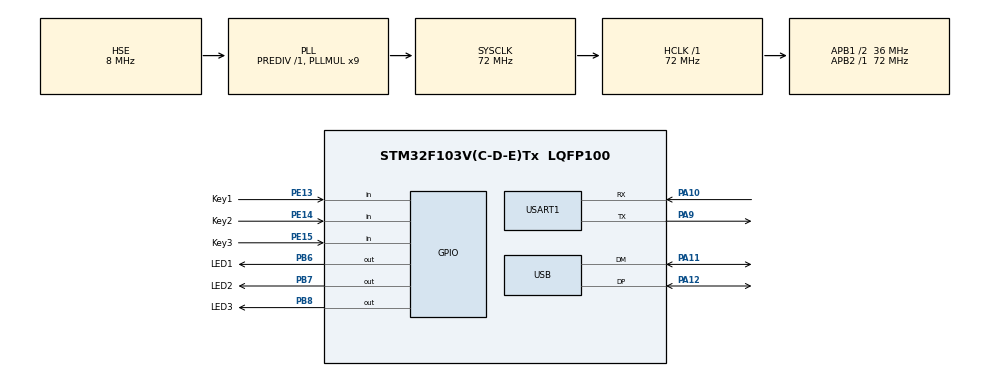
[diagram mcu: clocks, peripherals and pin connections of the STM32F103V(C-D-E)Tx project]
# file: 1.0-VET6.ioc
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FREERTOS.Tasks01=defaultTask,24,128,StartDefaultTask,Default,NULL,Dynamic,NULL,NULL
Mcu.Family=STM32F1
Mcu.Name=STM32F103V(C-D-E)Tx
Mcu.Package=LQFP100
NVIC.PriorityGroup=NVIC_PRIORITYGROUP_4
NVIC.TIM7_IRQn=true\:15\:0\:false\:false\:true\:false\:false\:true\:true
NVIC.TimeBase=TIM7_IRQn
NVIC.TimeBaseIP=TIM7
NVIC.USB_LP_CAN1_RX0_IRQn=true\:5\:0\:false\:false\:true\:true\:false\:true\:true
OSC_IN.Mode=HSE-External-Oscillator
OSC_IN.Signal=RCC_OSC_IN
OSC_OUT.Mode=HSE-External-Oscillator
OSC_OUT.Signal=RCC_OSC_OUT
PA10.Mode=Asynchronous
PA10.Signal=USART1_RX
PA11.Mode=Device
PA11.Signal=USB_DM
PA12.Mode=Device
PA12.Signal=USB_DP
PA13.Mode=Serial_Wire
PA13.Signal=SYS_JTMS-SWDIO
PA14.Mode=Serial_Wire
PA14.Signal=SYS_JTCK-SWCLK
PA9.Mode=Asynchronous
PA9.Signal=USART1_TX
PB6.GPIO_Label=LED1
PB6.GPIO_Speed=GPIO_SPEED_FREQ_HIGH
PB6.Signal=GPIO_Output
PB7.GPIO_Label=LED2
PB7.GPIO_Speed=GPIO_SPEED_FREQ_HIGH
PB7.Signal=GPIO_Output
PB8.GPIO_Label=LED3
PB8.GPIO_Speed=GPIO_SPEED_FREQ_HIGH
PB8.Signal=GPIO_Output
PC14-OSC32_IN.Mode=LSE-External-Oscillator
PC14-OSC32_IN.Signal=RCC_OSC32_IN
PC15-OSC32_OUT.Mode=LSE-External-Oscillator
PC15-OSC32_OUT.Signal=RCC_OSC32_OUT
PE13.GPIO_Label=Key1
PE13.Signal=GPIO_Input
PE14.GPIO_Label=Key2
PE14.Signal=GPIO_Input
PE15.GPIO_Label=Key3
PE15.Signal=GPIO_Input
ProjectManager.HeapSize=0x200
ProjectManager.StackSize=0x400
ProjectManager.TargetToolchain=MDK-ARM V5.32
RCC.AHBFreq_Value=72000000
RCC.APB1CLKDivider=RCC_HCLK_DIV2
RCC.APB1Freq_Value=36000000
RCC.APB1TimFreq_Value=72000000
RCC.APB2Freq_Value=72000000
RCC.APB2TimFreq_Value=72000000
RCC.HCLKFreq_Value=72000000
RCC.PLLMUL=RCC_PLL_MUL9
RCC.PLLSourceVirtual=RCC_PLLSOURCE_HSE
RCC.SYSCLKFreq_VALUE=72000000
RCC.SYSCLKSource=RCC_SYSCLKSOURCE_PLLCLK
RCC.USBFreq_Value=48000000
RCC.USBPrescaler=RCC_USBCLKSOURCE_PLL_DIV1_5
USART1.VirtualMode=VM_ASYNC
USB_DEVICE.CLASS_NAME_FS=HID
USB_DEVICE.VirtualMode=Hid
USB_DEVICE.VirtualModeFS=Hid_FS
VP_FREERTOS_VS_CMSIS_V2.Mode=CMSIS_V2
VP_SYS_VS_tim7.Mode=TIM7
VP_USB_DEVICE_VS_USB_DEVICE_HID_FS.Mode=HID_FS
board=custom

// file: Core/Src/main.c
/* USER CODE BEGIN Header */
/**
  ******************************************************************************
  * @file           : main.c
  * @brief          : Main program body
  ******************************************************************************
  * @attention
  *
  * Copyright (c) 2026 STMicroelectronics.
  * All rights reserved.
  *
  * This software is licensed under terms that can be found in the LICENSE file
  * in the root directory of this software component.
  * If no LICENSE file comes with this software, it is provided AS-IS.
  *
  ******************************************************************************
  */
/* USER CODE END Header */
#include "main.h"
#include "cmsis_os.h"
#include "usart.h"
#include "gpio.h"

/* USER CODE BEGIN PTD */
#define FLASH_USER_START_ADDR  0x08070000
//#define FLASH_PAGE_SIZE  0x800

HAL_StatusTypeDef Flash_Erase_Write(uint32_t start_addr, uint16_t *data, uint16_t len)
{
    HAL_StatusTypeDef status;
    uint32_t PageError = 0;

    uint32_t end_addr = start_addr + len * 2;
    uint32_t start_page = start_addr & (~(FLASH_PAGE_SIZE - 1));
    uint32_t end_page   = end_addr   & (~(FLASH_PAGE_SIZE - 1));
    uint32_t nb_pages   = (end_page - start_page) / FLASH_PAGE_SIZE + 1;

    FLASH_EraseInitTypeDef erase;
    erase.TypeErase   = FLASH_TYPEERASE_PAGES;
    erase.PageAddress = start_page;
    erase.NbPages     = nb_pages;

    HAL_FLASH_Unlock();

    status = HAL_FLASHEx_Erase(&erase, &PageError);
    if(status != HAL_OK)
    {
        HAL_FLASH_Lock();
        return status;
    }

    uint32_t addr = start_addr;
    for(uint16_t i = 0; i < len; i++)
    {
        status = HAL_FLASH_Program(FLASH_TYPEPROGRAM_HALFWORD, addr, data[i]);
        if(status != HAL_OK)
        {
            HAL_FLASH_Lock();
            return status;
        }
        addr += 2;
    }

    HAL_FLASH_Lock();

    return HAL_OK;
}

void Flash_Read_Array(uint32_t addr, uint8_t *buf, uint16_t len)
{
    for(uint16_t i = 0; i < len*2; i++)
    {
        buf[i] = *(volatile uint8_t*)addr;
        addr += 1;
    }
}

uint16_t write_data[size]={0x11,0x33,0x55};
uint8_t read_data[size*2];
/* USER CODE END PTD */

void SystemClock_Config(void);
void MX_FREERTOS_Init(void);

int main(void)
{

  /* MCU Configuration--------------------------------------------------------*/

  /* Reset of all peripherals, Initializes the Flash interface and the Systick. */
  HAL_Init();

  /* Configure the system clock */
  SystemClock_Config();

  /* Initialize all configured peripherals */
  MX_GPIO_Init();
  MX_USART1_UART_Init();
	Flash_Erase_Write(FLASH_USER_START_ADDR,write_data,size);
	HAL_Delay(300);
	Flash_Read_Array(FLASH_USER_START_ADDR,read_data,size);
	HAL_Delay(300);
  /* Init scheduler */
  osKernelInitialize();  /* Call init function for freertos objects (in cmsis_os2.c) */
  MX_FREERTOS_Init();

  /* Start scheduler */
  osKernelStart();

  /* We should never get here as control is now taken by the scheduler */

  /* Infinite loop */
  while (1)
  {

  }
}

void SystemClock_Config(void)
{
  RCC_OscInitTypeDef RCC_OscInitStruct = {0};
  RCC_ClkInitTypeDef RCC_ClkInitStruct = {0};

  /** Initializes the RCC Oscillators according to the specified parameters
  * in the RCC_OscInitTypeDef structure.
  */
  RCC_OscInitStruct.OscillatorType = RCC_OSCILLATORTYPE_HSE;
  RCC_OscInitStruct.HSEState = RCC_HSE_ON;
  RCC_OscInitStruct.HSEPredivValue = RCC_HSE_PREDIV_DIV1;
  RCC_OscInitStruct.HSIState = RCC_HSI_ON;
  RCC_OscInitStruct.PLL.PLLState = RCC_PLL_ON;
  RCC_OscInitStruct.PLL.PLLSource = RCC_PLLSOURCE_HSE;
  RCC_OscInitStruct.PLL.PLLMUL = RCC_PLL_MUL9;
  if (HAL_RCC_OscConfig(&RCC_OscInitStruct) != HAL_OK)
  {
    Error_Handler();
  }

  /** Initializes the CPU, AHB and APB buses clocks
  */
  RCC_ClkInitStruct.ClockType = RCC_CLOCKTYPE_HCLK|RCC_CLOCKTYPE_SYSCLK
                              |RCC_CLOCKTYPE_PCLK1|RCC_CLOCKTYPE_PCLK2;
  RCC_ClkInitStruct.SYSCLKSource = RCC_SYSCLKSOURCE_PLLCLK;
  RCC_ClkInitStruct.AHBCLKDivider = RCC_SYSCLK_DIV1;
  RCC_ClkInitStruct.APB1CLKDivider = RCC_HCLK_DIV2;
  RCC_ClkInitStruct.APB2CLKDivider = RCC_HCLK_DIV1;

  if (HAL_RCC_ClockConfig(&RCC_ClkInitStruct, FLASH_LATENCY_2) != HAL_OK)
  {
    Error_Handler();
  }
}

void HAL_TIM_PeriodElapsedCallback(TIM_HandleTypeDef *htim)
{
  if (htim->Instance == TIM7)
  {
    HAL_IncTick();
  }
}

void Error_Handler(void)
{
  __disable_irq();
  while (1)
  {
  }
}

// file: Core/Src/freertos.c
/* USER CODE BEGIN Header */
/**
  ******************************************************************************
  * File Name          : freertos.c
  * Description        : Code for freertos applications
  ******************************************************************************
  * @attention
  *
  * Copyright (c) 2026 STMicroelectronics.
  * All rights reserved.
  *
  * This software is licensed under terms that can be found in the LICENSE file
  * in the root directory of this software component.
  * If no LICENSE file comes with this software, it is provided AS-IS.
  *
  ******************************************************************************
  */
/* USER CODE END Header */

#include "FreeRTOS.h"
#include "task.h"
#include "main.h"
#include "cmsis_os.h"

/* USER CODE BEGIN Includes */
#include <stdio.h>

/* USER CODE END Includes */

/* USER CODE BEGIN PTD */
extern uint8_t read_data[size];
/* USER CODE END PTD */

/* Definitions for defaultTask */
osThreadId_t defaultTaskHandle;
const osThreadAttr_t defaultTask_attributes = {
  .name = "defaultTask",
  .stack_size = 128 * 4,
  .priority = (osPriority_t) osPriorityNormal,
};

void StartDefaultTask(void *argument);

void MX_FREERTOS_Init(void); /* (MISRA C 2004 rule 8.1) */

void MX_FREERTOS_Init(void) {

  /* Create the thread(s) */
  /* creation of defaultTask */
  defaultTaskHandle = osThreadNew(StartDefaultTask, NULL, &defaultTask_attributes);

}

void StartDefaultTask(void *argument)
{
  /* USER CODE BEGIN StartDefaultTask */
  uint32_t tick = 0;
  /* Infinite loop */
  for(;;)
  {
		osDelay(500);
		for(uint16_t i=0; i<size*2;i++)
		{
			printf("data: 0x%x\r\n", read_data[i]);
		}
    osDelay(500);
  }
  /* USER CODE END StartDefaultTask */
}
